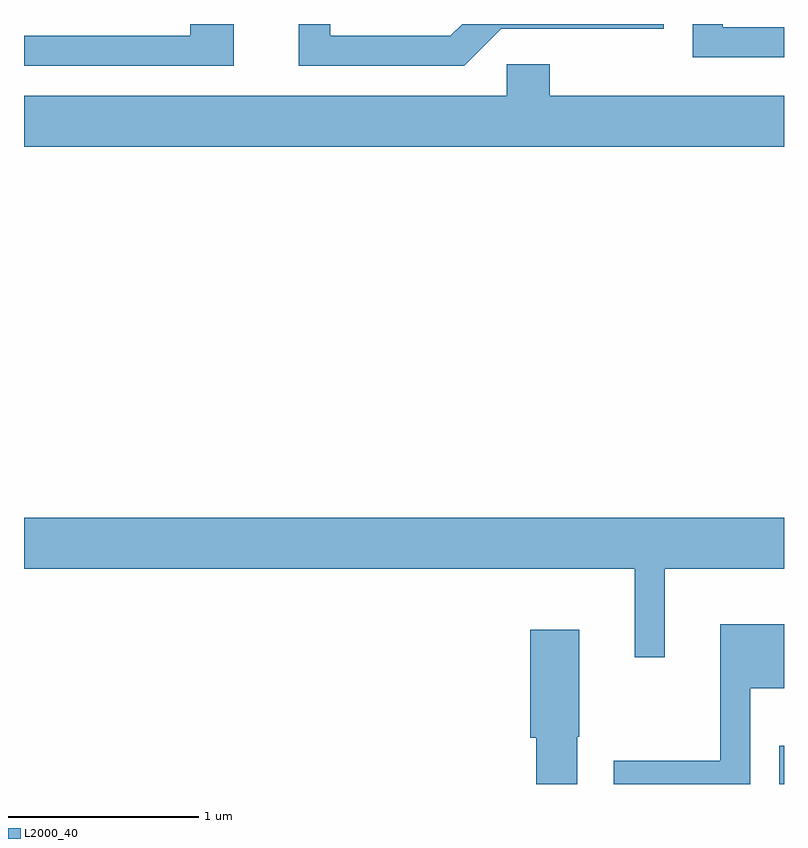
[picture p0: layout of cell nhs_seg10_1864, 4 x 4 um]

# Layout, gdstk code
import gdstk
lib = gdstk.Library(unit=1e-6, precision=1e-09)
def R(c, l, rs):  # rectangles x0, y0, x1, y1
    for r in rs: c.add(gdstk.rectangle(r[:2], r[2:], *l))
def P(c, l, *ps):  # polygons
    for p in ps: c.add(gdstk.Polygon(p, *l))
L2000_40 = (2000, 40)

nhs_seg10_1864 = lib.new_cell('nhs_seg10_1864')
R(nhs_seg10_1864, L2000_40, [(243.586,2150.522,243.611,2150.723)])
P(nhs_seg10_1864, L2000_40, [(240.714,2154.522),(240.486,2154.522),(240.486,2154.459),(239.611,2154.459),(239.611,2154.301),(240.714,2154.301)],
  [(243.611,2154.504),(243.289,2154.504),(243.289,2154.522),(243.131,2154.522),(243.131,2154.346),(243.611,2154.346)],
  [(242.122,2154.496),(242.979,2154.496),(242.979,2154.522),(241.917,2154.522),(241.854,2154.459),(241.224,2154.459),(241.224,2154.522),(241.056,2154.522),(241.056,2154.301),(241.927,2154.301)],
  [(243.611,2154.144),(242.379,2154.144),(242.379,2154.309),(242.151,2154.309),(242.151,2154.144),(239.611,2154.144),(239.611,2153.876),(243.611,2153.876)],
  [(242.984,2151.656),(243.611,2151.656),(243.611,2151.924),(239.611,2151.924),(239.611,2151.656),(242.826,2151.656),(242.826,2151.188),(242.984,2151.188)],
  [(243.434,2151.026),(243.611,2151.026),(243.611,2151.364),(243.276,2151.364),(243.276,2150.644),(242.716,2150.644),(242.716,2150.522),(243.434,2150.522)],
  [(242.524,2150.77),(242.534,2150.77),(242.534,2151.334),(242.276,2151.334),(242.276,2150.766),(242.306,2150.766),(242.306,2150.522),(242.524,2150.522)])

lib.write_gds('nhs_seg10_1864.gds')
